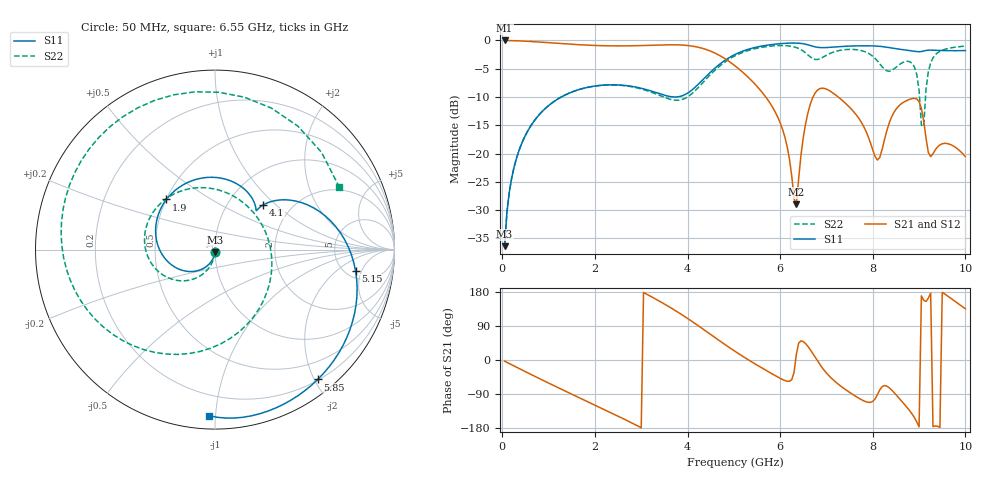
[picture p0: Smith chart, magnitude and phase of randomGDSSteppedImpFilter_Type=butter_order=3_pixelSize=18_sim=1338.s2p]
! freq	dB(S11)	phase(S11)	dB(S12)	phase(S12)
!  dB(S21)	phase(S21)	dB(S22)	phase(S22)
!S-par simulation data
#  GHz  S  DB  R 50
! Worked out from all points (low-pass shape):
!   200 points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, 50 MHz to 10 GHz, reference 50 ohm
!   highest |S21| = -0.01 dB at 50 MHz (marker M1); lowest = -29.0 dB at 6.35 GHz (marker M2)
!   |S21| within 3 dB of the highest: start of sweep to 4.764 GHz
!   lowest |S11| = -36.4 dB at 50 MHz (marker M3), VSWR 1.03, Z = 49.9 - j1.51 ohm
!   |S11| at or under -10 dB: start of sweep to 1.275 GHz; 3.741039 GHz to 3.751461 GHz (10.42 MHz wide, 0.278 % of centre)
!   |S22| runs from -36.3 to -0.9 dB; largest |S21 - S12| = 0
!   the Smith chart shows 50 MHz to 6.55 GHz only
!   S11 on the Smith chart (normalised r, x): 50 MHz: 1.00, -0.03; 1.9 GHz: 0.50, +0.33; 4.1 GHz: 1.45, +0.83; 5.15 GHz: 6.12, -3.87; 5.85 GHz: 0.21, -2.05; 6.55 GHz: 0.07, -0.96
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0.05  -36.38 -93.5  -0.01 -3.2  -0.01 -3.2  -36.35 -92.1
0.5  -16.78 -127.4  -0.14 -30.8  -0.14 -30.8  -16.76 -115.2
1.75  -8.48 144.2  -0.80 -104.6  -0.80 -104.6  -8.47 -174.5
1.9  -8.20 134.1  -0.86 -113.2  -0.86 -113.2  -8.20 178.4
3.4  -9.43 49.0  -0.80 154.8  -0.80 154.8  -9.74 80.8
4.1  -8.73 42.8  -1.00 101.5  -1.00 101.5  -9.38 -22.4
5.05  -2.38 -2.1  -4.65 20.9  -4.65 20.9  -2.62 -140.3
5.15  -2.03 -8.6  -5.33 13.0  -5.33 13.0  -2.25 -149.8
5.85  -0.70 -51.6  -12.01 -38.2  -12.01 -38.2  -0.97 146.5
6.35  -0.47 -80.5  -29.00 15.1  -29.00 15.1  -1.26 79.0
6.55  -0.67 -92.2  -14.70 43.2  -14.70 43.2  -2.21 26.8
6.7  -1.01 -99.7  -10.16 17.9  -10.16 17.9  -3.19 -31.3
6.85  -1.26 -105.3  -8.55 -10.5  -8.55 -10.5  -3.27 -94.0
7.15  -1.17 -117.4  -9.35 -53.0  -9.35 -53.0  -2.06 -175.6
7.75  -0.95 -148.8  -14.43 -104.4  -14.43 -104.4  -1.79 94.6
8.1  -1.01 -171.1  -21.15 -91.6  -21.15 -91.6  -3.63 18.8
8.35  -1.27 171.1  -14.72 -72.7  -14.72 -72.7  -5.46 -78.1
8.65  -1.63 148.0  -11.01 -112.2  -11.01 -112.2  -3.89 -178.5
8.9  -1.92 126.2  -10.24 -152.2  -10.24 -152.2  -4.71 117.5
9.05  -1.96 112.8  -12.02 169.5  -12.02 169.5  -14.99 28.7
9.3  -1.72 83.7  -20.03 -175.8  -20.03 -175.8  -3.08 172.8
10  -1.79 -5.1  -20.54 135.0  -20.54 135.0  -1.00 103.1
